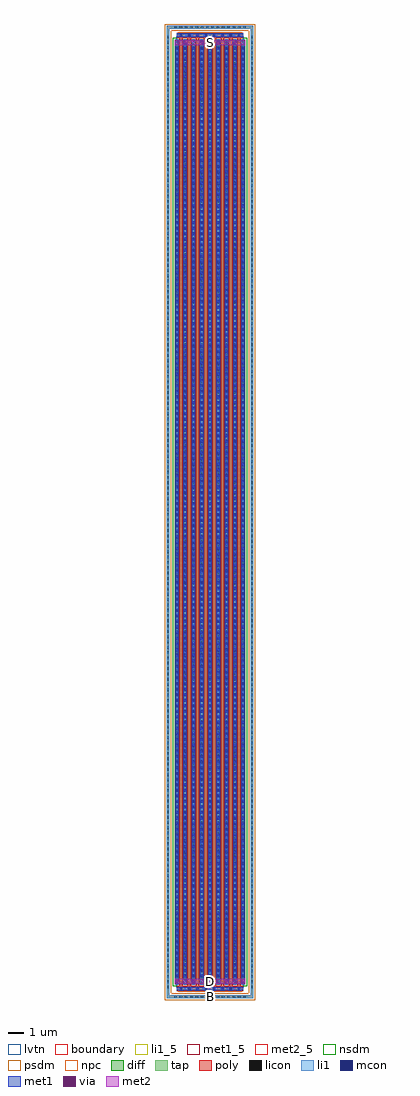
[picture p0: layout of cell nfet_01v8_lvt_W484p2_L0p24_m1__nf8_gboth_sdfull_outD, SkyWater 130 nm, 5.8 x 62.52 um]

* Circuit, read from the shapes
.subckt nfet_01v8_lvt_W484p2_L0p24_m1__nf8_gboth_sdfull_outD B D G S
XM1 S G D B sky130_fd_pr__nfet_01v8_lvt w=60.53 l=0.24 m=8
.ends

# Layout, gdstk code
import gdstk
lib = gdstk.Library(unit=1e-6, precision=1e-09)
def R(c, l, rs):  # rectangles x0, y0, x1, y1
    for r in rs: c.add(gdstk.rectangle(r[:2], r[2:], *l))
def A(c, l, x, y, w, h, nx, ny, dx, dy):  # array of equal rectangles
    R(c, l, [(x+i*dx, y+j*dy, x+i*dx+w, y+j*dy+h) for i in range(nx) for j in range(ny)])
diff = (65, 20)
tap = (65, 44)
poly = (66, 20)
licon = (66, 44)
li1_5 = (67, 5)
li1 = (67, 20)
mcon = (67, 44)
met1_5 = (68, 5)
met1 = (68, 20)
via = (68, 44)
met2_5 = (69, 5)
met2 = (69, 20)
nsdm = (93, 44)
psdm = (94, 20)
npc = (95, 20)
lvtn = (125, 44)
boundary = (235, 4)

sky130_fd_pr__nfet_01v8_ = lib.new_cell('sky130_fd_pr__nfet_01v8_lvt_MP63JY')
R(sky130_fd_pr__nfet_01v8_, diff, [(-2.265,-30.265,2.265,30.265)])
R(sky130_fd_pr__nfet_01v8_, tap, [(-2.775,-31.135,2.775,-30.965), (-2.775,-30.965,-2.605,30.965), (2.605,-30.965,2.775,30.965), (-2.775,30.965,2.775,31.135)])
A(sky130_fd_pr__nfet_01v8_, poly, -1.975, -30.375, 0.24, 60.75, 8, 1, 0.53, 0)
R(sky130_fd_pr__nfet_01v8_, poly, [(-2.12,-30.705,2.12,-30.375), (-2.12,30.375,2.12,30.705)])
A(sky130_fd_pr__nfet_01v8_, licon, -2.295, -31.135, 0.17, 0.17, 14, 2, 0.34, 62.1)
A(sky130_fd_pr__nfet_01v8_, licon, -1.94, -30.625, 0.17, 0.17, 8, 2, 0.53, 61.08)
A(sky130_fd_pr__nfet_01v8_, licon, -2.775, -30.515, 0.17, 0.17, 1, 180, 0, 0.34)
A(sky130_fd_pr__nfet_01v8_, licon, 2.605, -30.515, 0.17, 0.17, 1, 180, 0, 0.34)
A(sky130_fd_pr__nfet_01v8_, licon, -2.205, -30.175, 0.17, 0.17, 9, 178, 0.53, 0.34)
A(sky130_fd_pr__nfet_01v8_, li1, -2.205, -30.285, 0.17, 60.57, 9, 1, 0.53, 0)
R(sky130_fd_pr__nfet_01v8_, li1, [(-2.775,-31.135,2.775,-30.965), (-2.775,-30.965,-2.605,30.965), (2.605,-30.965,2.775,30.965), (-2.12,-30.625,2.12,-30.455), (-2.12,30.455,2.12,30.625), (-2.775,30.965,2.775,31.135)])
A(sky130_fd_pr__nfet_01v8_, mcon, -1.94, -30.625, 0.17, 0.17, 8, 2, 0.53, 61.08)
A(sky130_fd_pr__nfet_01v8_, mcon, -2.205, -30.145, 0.17, 0.17, 9, 168, 0.53, 0.36)
A(sky130_fd_pr__nfet_01v8_, met1, -2, -30.655, 0.29, 0.03, 8, 2, 0.53, 0.2)
A(sky130_fd_pr__nfet_01v8_, met1, -2.235, -30.265, 0.23, 60.53, 9, 1, 0.53, 0)
A(sky130_fd_pr__nfet_01v8_, met1, -2, 30.425, 0.29, 0.03, 8, 2, 0.53, 0.2)
R(sky130_fd_pr__nfet_01v8_, met1, [(-2.12,-30.625,2.12,-30.455), (-2.12,30.455,2.12,30.625)])
R(sky130_fd_pr__nfet_01v8_, nsdm, [(-2.39,-30.39,2.39,30.39)])
R(sky130_fd_pr__nfet_01v8_, psdm, [(-2.9,-31.26,2.9,-30.84), (-2.9,-30.84,-2.48,30.84), (2.48,-30.84,2.9,30.84), (-2.9,30.84,2.9,31.26)])
R(sky130_fd_pr__nfet_01v8_, npc, [(-2.04,-30.725,2.04,-30.355), (-2.04,30.355,2.04,30.725)])
R(sky130_fd_pr__nfet_01v8_, lvtn, [(-2.155,-30.445,2.155,30.445)])
R(sky130_fd_pr__nfet_01v8_, boundary, [(-2.69,-31.05,2.69,31.05)])
sky130_fd_pr__nfet_01v8_.add(gdstk.Label('B', (0,-31.05), layer=67, texttype=5))
sky130_fd_pr__nfet_01v8_.add(gdstk.Label('D0', (-2.12,0), layer=67, texttype=5))
sky130_fd_pr__nfet_01v8_.add(gdstk.Label('G', (1.855,30.54), layer=67, texttype=5))
sky130_fd_pr__nfet_01v8_.add(gdstk.Label('G', (1.325,30.54), layer=67, texttype=5))
sky130_fd_pr__nfet_01v8_.add(gdstk.Label('G', (0.795,30.54), layer=67, texttype=5))
sky130_fd_pr__nfet_01v8_.add(gdstk.Label('G', (0.265,30.54), layer=67, texttype=5))
sky130_fd_pr__nfet_01v8_.add(gdstk.Label('G', (-0.265,30.54), layer=67, texttype=5))
sky130_fd_pr__nfet_01v8_.add(gdstk.Label('G', (-0.795,30.54), layer=67, texttype=5))
sky130_fd_pr__nfet_01v8_.add(gdstk.Label('G', (-1.325,30.54), layer=67, texttype=5))
sky130_fd_pr__nfet_01v8_.add(gdstk.Label('G', (-1.855,30.54), layer=67, texttype=5))
sky130_fd_pr__nfet_01v8_.add(gdstk.Label('S1', (-1.59,0), layer=67, texttype=5))
sky130_fd_pr__nfet_01v8_.add(gdstk.Label('D2', (-1.06,0), layer=67, texttype=5))
sky130_fd_pr__nfet_01v8_.add(gdstk.Label('S3', (-0.53,0), layer=67, texttype=5))
sky130_fd_pr__nfet_01v8_.add(gdstk.Label('D4', (0,0), layer=67, texttype=5))
sky130_fd_pr__nfet_01v8_.add(gdstk.Label('S5', (0.53,0), layer=67, texttype=5))
sky130_fd_pr__nfet_01v8_.add(gdstk.Label('D6', (1.06,0), layer=67, texttype=5))
sky130_fd_pr__nfet_01v8_.add(gdstk.Label('S7', (1.59,0), layer=67, texttype=5))

nfet_01v8_lvt_w484p2_l0p = lib.new_cell('nfet_01v8_lvt_W484p2_L0p24_m1__nf8_gboth_sdfull_outD')
R(nfet_01v8_lvt_w484p2_l0p, li1_5, [(2.605,-0.085,2.775,0.085)])
R(nfet_01v8_lvt_w484p2_l0p, li1, [(2.605,-0.085,2.775,0.085)])
R(nfet_01v8_lvt_w484p2_l0p, met1_5, [(0.57,61.475,4.81,61.705)])
A(nfet_01v8_lvt_w484p2_l0p, met1, 0.44, 0.835, 0.26, 0.32, 5, 1, 1.06, 0)
A(nfet_01v8_lvt_w484p2_l0p, met1, 0.97, 60.945, 0.26, 0.32, 4, 1, 1.06, 0)
R(nfet_01v8_lvt_w484p2_l0p, met1, [(0.57,61.475,4.81,61.705)])
A(nfet_01v8_lvt_w484p2_l0p, via, 0.495, 0.92, 0.15, 0.15, 5, 1, 1.06, 0)
A(nfet_01v8_lvt_w484p2_l0p, via, 1.025, 61.03, 0.15, 0.15, 4, 1, 1.06, 0)
R(nfet_01v8_lvt_w484p2_l0p, met2_5, [(0.435,0.835,4.945,1.155), (0.435,60.945,4.945,61.265)])
R(nfet_01v8_lvt_w484p2_l0p, met2, [(0.435,0.835,4.945,1.155), (0.435,60.945,4.945,61.265)])
nfet_01v8_lvt_w484p2_l0p.add(gdstk.Reference(sky130_fd_pr__nfet_01v8_, (2.69,31.05)))
nfet_01v8_lvt_w484p2_l0p.add(gdstk.Label('S', (2.69,61.105), layer=69, texttype=5))
nfet_01v8_lvt_w484p2_l0p.add(gdstk.Label('D', (2.69,0.995), layer=69, texttype=5))
nfet_01v8_lvt_w484p2_l0p.add(gdstk.Label('G', (2.69,61.59), layer=68, texttype=5))
nfet_01v8_lvt_w484p2_l0p.add(gdstk.Label('B', (2.69,0), layer=67, texttype=5))

lib.write_gds('nfet_01v8_lvt_W484p2_L0p24_m1__nf8_gboth_sdfull_outD.gds')
